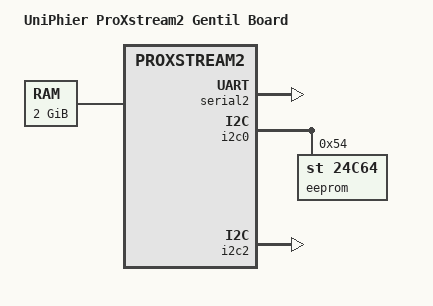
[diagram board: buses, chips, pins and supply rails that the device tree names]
/*
 * Device Tree Source for UniPhier ProXstream2 Gentil Board
 *
 * Copyright (C) 2015 Masahiro Yamada <yamada.masahiro@socionext.com>
 *
 * This file is dual-licensed: you can use it either under the terms
 * of the GPL or the X11 license, at your option. Note that this dual
 * licensing only applies to this file, and not this project as a
 * whole.
 *
 *  a) This file is free software; you can redistribute it and/or
 *     modify it under the terms of the GNU General Public License as
 *     published by the Free Software Foundation; either version 2 of the
 *     License, or (at your option) any later version.
 *
 *     This file is distributed in the hope that it will be useful,
 *     but WITHOUT ANY WARRANTY; without even the implied warranty of
 *     MERCHANTABILITY or FITNESS FOR A PARTICULAR PURPOSE.  See the
 *     GNU General Public License for more details.
 *
 * Or, alternatively,
 *
 *  b) Permission is hereby granted, free of charge, to any person
 *     obtaining a copy of this software and associated documentation
 *     files (the "Software"), to deal in the Software without
 *     restriction, including without limitation the rights to use,
 *     copy, modify, merge, publish, distribute, sublicense, and/or
 *     sell copies of the Software, and to permit persons to whom the
 *     Software is furnished to do so, subject to the following
 *     conditions:
 *
 *     The above copyright notice and this permission notice shall be
 *     included in all copies or substantial portions of the Software.
 *
 *     THE SOFTWARE IS PROVIDED "AS IS", WITHOUT WARRANTY OF ANY KIND,
 *     EXPRESS OR IMPLIED, INCLUDING BUT NOT LIMITED TO THE WARRANTIES
 *     OF MERCHANTABILITY, FITNESS FOR A PARTICULAR PURPOSE AND
 *     NONINFRINGEMENT. IN NO EVENT SHALL THE AUTHORS OR COPYRIGHT
 *     HOLDERS BE LIABLE FOR ANY CLAIM, DAMAGES OR OTHER LIABILITY,
 *     WHETHER IN AN ACTION OF CONTRACT, TORT OR OTHERWISE, ARISING
 *     FROM, OUT OF OR IN CONNECTION WITH THE SOFTWARE OR THE USE OR
 *     OTHER DEALINGS IN THE SOFTWARE.
 */

/dts-v1/;
/include/ "uniphier-proxstream2.dtsi"

/ {
	model = "UniPhier ProXstream2 Gentil Board";
	compatible = "socionext,proxstream2-gentil", "socionext,proxstream2";

	memory {
		device_type = "memory";
		reg = <0x80000000 0x80000000>;
	};

	chosen {
		stdout-path = "serial2:115200n8";
	};

	aliases {
		serial0 = &serial0;
		serial1 = &serial1;
		serial2 = &serial2;
		i2c0 = &i2c0;
		i2c2 = &i2c2;
		i2c4 = &i2c4;
		i2c5 = &i2c5;
		i2c6 = &i2c6;
	};
};

&serial2 {
	status = "okay";
};

&i2c0 {
	status = "okay";

	eeprom@54 {
		compatible = "st,24c64";
		reg = <0x54>;
	};
};

&i2c2 {
	status = "okay";
};
